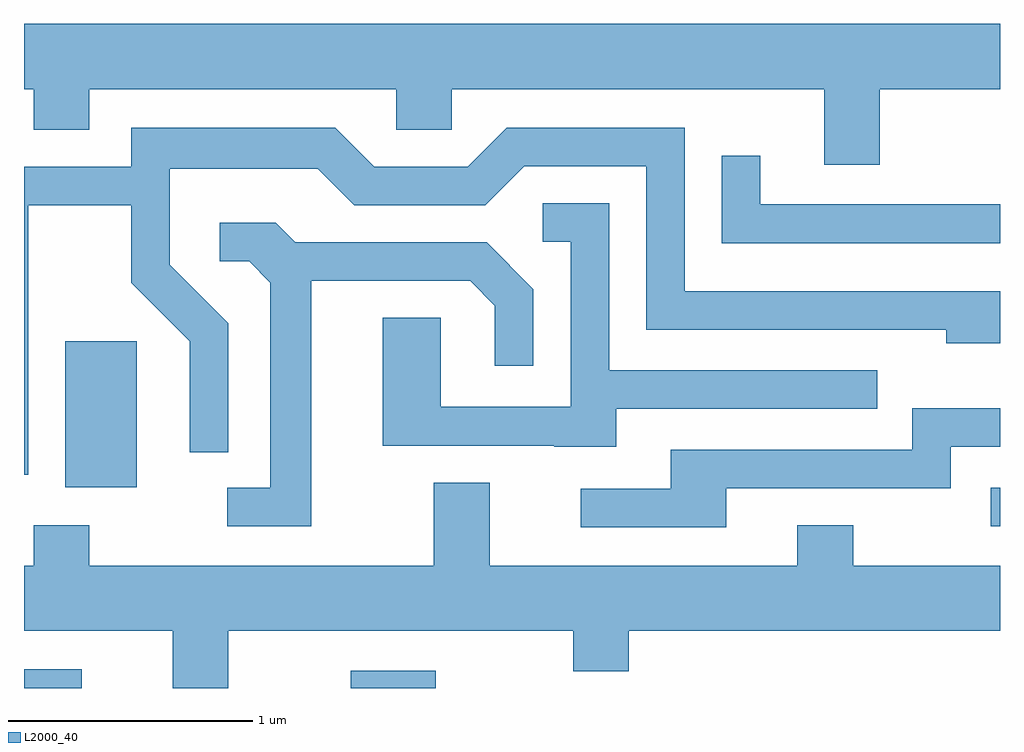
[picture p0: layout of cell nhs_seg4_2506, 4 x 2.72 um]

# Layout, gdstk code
import gdstk
lib = gdstk.Library(unit=1e-6, precision=1e-09)
def R(c, l, rs):  # rectangles x0, y0, x1, y1
    for r in rs: c.add(gdstk.rectangle(r[:2], r[2:], *l))
def P(c, l, *ps):  # polygons
    for p in ps: c.add(gdstk.Polygon(p, *l))
L2000_40 = (2000, 40)

nhs_seg4_2506 = lib.new_cell('nhs_seg4_2506')
R(nhs_seg4_2506, L2000_40, [(257.611,1369.982,257.848,1370.059), (258.951,1369.982,259.298,1370.054), (261.573,1370.646,261.611,1370.804), (257.781,1370.806,258.074,1371.404)])
P(nhs_seg4_2506, L2000_40, [(261.119,1372.436),(261.611,1372.436),(261.611,1372.704),(257.611,1372.704),(257.611,1372.436),(257.651,1372.436),(257.651,1372.271),(257.879,1372.271),(257.879,1372.436),(259.136,1372.436),(259.136,1372.271),(259.364,1372.271),(259.364,1372.436),(260.891,1372.436),(260.891,1372.126),(261.119,1372.126)],
  [(257.629,1371.961),(258.051,1371.961),(258.051,1371.644),(258.291,1371.404),(258.291,1370.948),(258.449,1370.948),(258.449,1371.477),(258.209,1371.717),(258.209,1372.111),(258.814,1372.111),(258.964,1371.961),(259.502,1371.961),(259.662,1372.121),(260.161,1372.121),(260.161,1371.451),(261.391,1371.451),(261.391,1371.396),(261.611,1371.396),(261.611,1371.609),(260.319,1371.609),(260.319,1372.279),(259.589,1372.279),(259.429,1372.119),(259.046,1372.119),(258.887,1372.279),(258.051,1372.279),(258.051,1372.119),(257.611,1372.119),(257.611,1370.856),(257.629,1370.856)],
  [(261.611,1371.964),(260.629,1371.964),(260.629,1372.163),(260.471,1372.163),(260.471,1371.806),(261.611,1371.806)],
  [(260.039,1371.126),(261.108,1371.126),(261.108,1371.284),(260.009,1371.284),(260.009,1371.969),(259.738,1371.969),(259.738,1371.811),(259.851,1371.811),(259.851,1371.134),(259.319,1371.134),(259.319,1371.499),(259.081,1371.499),(259.081,1370.976),(259.785,1370.976),(259.785,1370.971),(260.039,1370.971)],
  [(258.789,1371.651),(259.439,1371.651),(259.541,1371.549),(259.541,1371.303),(259.699,1371.303),(259.699,1371.617),(259.507,1371.809),(258.722,1371.809),(258.642,1371.889),(258.413,1371.889),(258.413,1371.731),(258.534,1371.731),(258.621,1371.644),(258.621,1370.804),(258.443,1370.804),(258.443,1370.646),(258.789,1370.646)],
  [(260.489,1370.801),(261.409,1370.801),(261.409,1370.971),(261.611,1370.971),(261.611,1371.129),(261.251,1371.129),(261.251,1370.959),(260.261,1370.959),(260.261,1370.799),(259.892,1370.799),(259.892,1370.641),(260.489,1370.641)],
  [(258.449,1370.216),(259.861,1370.216),(259.861,1370.051),(260.089,1370.051),(260.089,1370.216),(261.611,1370.216),(261.611,1370.484),(261.009,1370.484),(261.009,1370.649),(260.781,1370.649),(260.781,1370.484),(259.519,1370.484),(259.519,1370.824),(259.291,1370.824),(259.291,1370.484),(257.879,1370.484),(257.879,1370.649),(257.651,1370.649),(257.651,1370.484),(257.611,1370.484),(257.611,1370.216),(258.221,1370.216),(258.221,1369.982),(258.449,1369.982)])

lib.write_gds('nhs_seg4_2506.gds')
